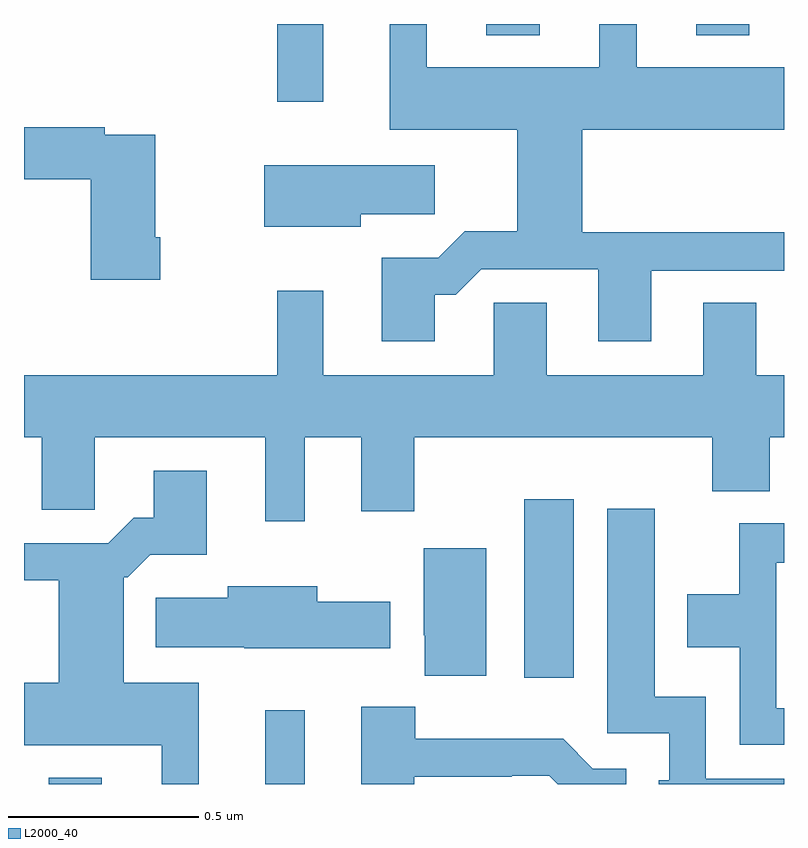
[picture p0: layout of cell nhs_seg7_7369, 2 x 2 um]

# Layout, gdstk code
import gdstk
lib = gdstk.Library(unit=1e-6, precision=1e-09)
def R(c, l, rs):  # rectangles x0, y0, x1, y1
    for r in rs: c.add(gdstk.rectangle(r[:2], r[2:], *l))
def P(c, l, *ps):  # polygons
    for p in ps: c.add(gdstk.Polygon(p, *l))
L2000_40 = (2000, 40)

nhs_seg7_7369 = lib.new_cell('nhs_seg7_7369')
R(nhs_seg7_7369, L2000_40, [(210.065,1037,210.205,1037.017), (210.635,1037,210.739,1037.194), (211.316,1037.28,211.447,1037.749), (210.666,1038.795,210.787,1039), (211.217,1038.971,211.357,1039), (211.769,1038.971,211.909,1039)])
P(nhs_seg7_7369, L2000_40, [(211.081,1038.287),(211.136,1038.287),(211.203,1038.354),(211.511,1038.354),(211.511,1038.165),(211.651,1038.165),(211.651,1038.351),(212,1038.351),(212,1038.452),(211.469,1038.452),(211.469,1038.722),(212,1038.722),(212,1038.886),(211.612,1038.886),(211.612,1039),(211.514,1039),(211.514,1038.886),(211.06,1038.886),(211.06,1039),(210.962,1039),(210.962,1038.722),(211.298,1038.722),(211.298,1038.455),(211.16,1038.455),(211.09,1038.385),(210.941,1038.385),(210.941,1038.165),(211.081,1038.165)],
  [(210.359,1038.439),(210.346,1038.439),(210.346,1038.708),(210.212,1038.708),(210.212,1038.728),(210,1038.728),(210,1038.592),(210.176,1038.592),(210.176,1038.327),(210.359,1038.327)],
  [(210.886,1038.499),(211.081,1038.499),(211.081,1038.628),(210.632,1038.628),(210.632,1038.467),(210.886,1038.467)],
  [(210.739,1037.912),(210.887,1037.912),(210.887,1037.718),(211.027,1037.718),(211.027,1037.912),(211.811,1037.912),(211.811,1037.771),(211.963,1037.771),(211.963,1037.912),(212,1037.912),(212,1038.076),(211.927,1038.076),(211.927,1038.266),(211.787,1038.266),(211.787,1038.076),(211.375,1038.076),(211.375,1038.266),(211.236,1038.266),(211.236,1038.076),(210.787,1038.076),(210.787,1038.298),(210.666,1038.298),(210.666,1038.076),(210,1038.076),(210,1037.912),(210.047,1037.912),(210.047,1037.722),(210.186,1037.722),(210.186,1037.912),(210.635,1037.912),(210.635,1037.691),(210.739,1037.691)],
  [(210.46,1037.266),(210.262,1037.266),(210.262,1037.544),(210.273,1037.544),(210.332,1037.603),(210.481,1037.603),(210.481,1037.824),(210.341,1037.824),(210.341,1037.701),(210.289,1037.701),(210.222,1037.634),(210,1037.634),(210,1037.536),(210.092,1037.536),(210.092,1037.266),(210,1037.266),(210,1037.102),(210.362,1037.102),(210.362,1037),(210.46,1037)],
  [(212,1037.014),(211.794,1037.014),(211.794,1037.23),(211.66,1037.23),(211.66,1037.725),(211.535,1037.725),(211.535,1037.133),(211.698,1037.133),(211.698,1037.01),(211.67,1037.01),(211.67,1037),(212,1037)],
  [(212,1037.199),(211.98,1037.199),(211.98,1037.582),(212,1037.582),(212,1037.686),(211.882,1037.686),(211.882,1037.5),(211.745,1037.5),(211.745,1037.36),(211.884,1037.36),(211.884,1037.103),(212,1037.103)],
  [(211.216,1037.62),(211.052,1037.62),(211.052,1037.392),(211.054,1037.392),(211.054,1037.285),(211.216,1037.285)],
  [(210.964,1037.479),(210.772,1037.479),(210.772,1037.521),(210.536,1037.521),(210.536,1037.49),(210.347,1037.49),(210.347,1037.36),(210.579,1037.36),(210.579,1037.357),(210.964,1037.357)],
  [(211.027,1037.019),(211.283,1037.019),(211.283,1037.022),(211.382,1037.022),(211.404,1037),(211.585,1037),(211.585,1037.04),(211.497,1037.04),(211.419,1037.119),(211.03,1037.119),(211.03,1037.203),(210.887,1037.203),(210.887,1037),(211.027,1037)])

lib.write_gds('nhs_seg7_7369.gds')
